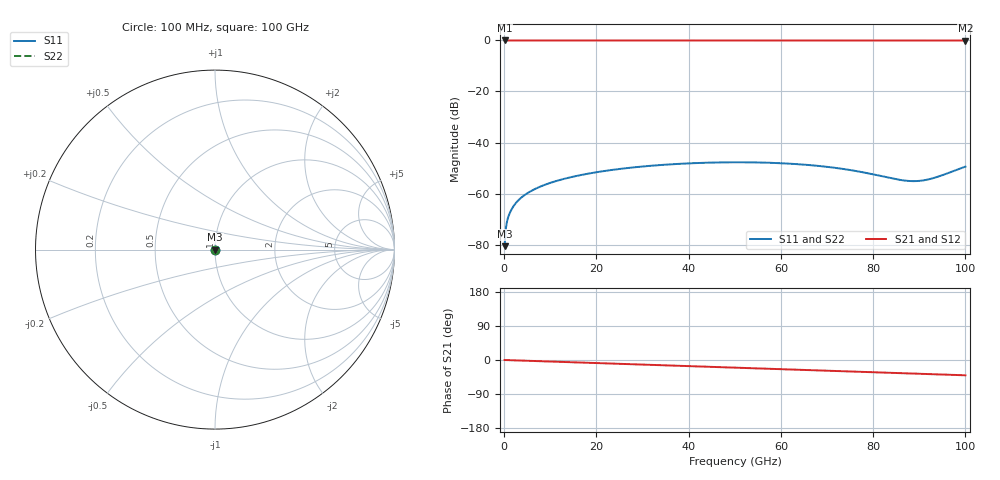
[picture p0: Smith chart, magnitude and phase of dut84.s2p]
! Touchstone file exported from HFSS 2026.1.0
!  File:  C:/ffzhzh/LocalFiles/Ansys_Project_Files/temp_train_TSV_84_1783505485_55944.aedt
!  Generated:  06:12:36 PM Jul  8, 2026
!  Design:  TSV
!  Project:  temp_train_TSV_84_1783505485_55944
! Variables:
!  h_bsmrdl = 2um
!  h_ox = 20um
!  h_rdl = 5um
!  h_sub = 78um
!  h_tmrdl = 5um
!  h_tsv = 78um
!  h_via = 3um
!  l_bsmrdl = 300um
!  l_sub = 427.58um
!  l_tmrdl = 200um
!  m_sub = 200um
!  pitch = 55.88um
!  r_tsv = 13.79um
!  s_tmrdl = 10um
!  w_bsmrdl = 18um
!  w_sub = 500um
!  w_tmrdl = 12um
!  x_tsv_center1 = 206um
!  x_tsv_center2 = 524um
!  x_tsv_center3 = 736um
!  x_tsv_center4 = 1054um
!  x_tsv_center5 = 1266um
!  x_tsv_center6 = 1584um
# GHz S MA R 50.000000
! Terminal data exported
! Port[1] = TSV1_1_T1
! Port[2] = TSV1_1_T2
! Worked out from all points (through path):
!   1000 points, 100 MHz to 100 GHz, reference 50 ohm
!   highest |S21| = 0.00 dB at 100 MHz (marker M1); lowest = 0.0 dB at 100 GHz (marker M2)
!   group delay of S21, straight-line fit = 1.12 ps
!   lowest |S11| = -80.6 dB at 100 MHz (marker M3), VSWR 1.00, Z = 50 + j0.00517 ohm
!   |S11| at or under -10 dB: start of sweep to end of sweep
!   |S22| runs from -80.6 to -47.7 dB; largest |S21 - S12| = 4.6e-15
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0.1  9.305e-05 33.7  0.9999 -0.0  0.9999 -0.0  9.305e-05 33.7
! Gamma 0 0 0 0
! Port Impedance 50 0 50 0
0.8  0.0003281 52.4  0.9998 -0.3  0.9998 -0.3  0.0003281 52.4
1  0.0003715 52.9  0.9998 -0.4  0.9998 -0.4  0.0003715 52.9
1.3  0.0004312 53.8  0.9997 -0.5  0.9997 -0.5  0.0004312 53.8
2.4  0.0006288 56.5  0.9997 -1.0  0.9997 -1.0  0.0006288 56.5
3.9  0.0008596 58.0  0.9996 -1.6  0.9996 -1.6  0.0008596 58.0
6.1  0.001153 59.4  0.9995 -2.5  0.9995 -2.5  0.001153 59.4
9  0.001505 60.2  0.9993 -3.6  0.9993 -3.6  0.001505 60.2
12.5  0.00189 60.4  0.9992 -5.0  0.9992 -5.0  0.00189 60.3
16.8  0.002321 60.1  0.9991 -6.8  0.9991 -6.8  0.002321 60.1
24.4  0.002985 58.7  0.9989 -9.8  0.9989 -9.8  0.002985 58.6
33.4  0.003594 55.8  0.9987 -13.4  0.9987 -13.4  0.003595 55.8
41.7  0.003958 52.4  0.9985 -16.8  0.9985 -16.8  0.003959 52.3
50.1  0.0041 48.0  0.9984 -20.1  0.9984 -20.1  0.004102 48.0
58.8  0.00397 42.2  0.9982 -23.6  0.9982 -23.6  0.003972 42.1
66.7  0.003579 34.9  0.9981 -26.8  0.9981 -26.8  0.003583 34.8
74.9  0.002901 23.0  0.9979 -30.1  0.9979 -30.1  0.002907 22.8
83.4  0.002041 -3.1  0.9978 -33.6  0.9978 -33.6  0.002052 -3.3
87.5  0.001771 -27.3  0.9977 -35.3  0.9977 -35.3  0.001785 -27.4
90.7  0.001801 -51.2  0.9976 -36.6  0.9976 -36.6  0.001816 -51.1
93.8  0.002104 -72.8  0.9975 -37.8  0.9975 -37.8  0.002118 -72.5
100  0.003372 -100.8  0.9973 -40.4  0.9973 -40.4  0.003383 -100.5
